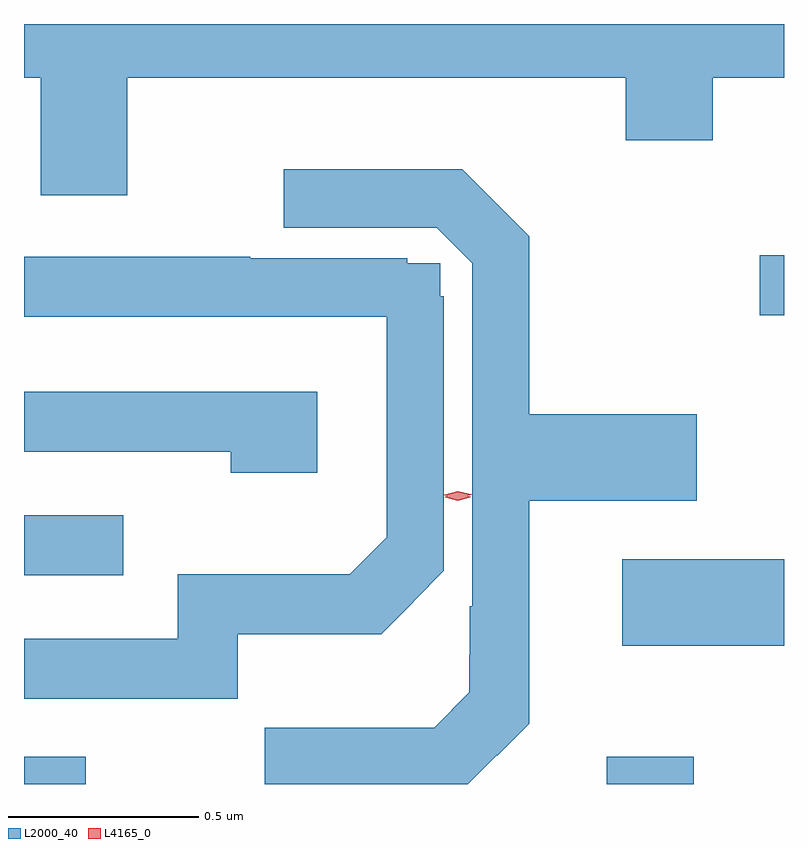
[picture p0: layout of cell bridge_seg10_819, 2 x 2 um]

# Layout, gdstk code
import gdstk
lib = gdstk.Library(unit=1e-6, precision=1e-09)
def R(c, l, rs):  # rectangles x0, y0, x1, y1
    for r in rs: c.add(gdstk.rectangle(r[:2], r[2:], *l))
def P(c, l, *ps):  # polygons
    for p in ps: c.add(gdstk.Polygon(p, *l))
L2000_40 = (2000, 40)
L4165_0 = (4165, 0)

bridge_seg10_819 = lib.new_cell('bridge_seg10_819')
R(bridge_seg10_819, L2000_40, [(594.957,2165.337,595.119,2165.409), (596.491,2165.337,596.719,2165.409), (596.531,2165.701,596.957,2165.929), (594.957,2165.886,595.218,2166.044), (596.893,2166.571,596.957,2166.729)])
P(bridge_seg10_819, L2000_40, [(595.229,2167.196),(596.541,2167.196),(596.541,2167.031),(596.769,2167.031),(596.769,2167.196),(596.957,2167.196),(596.957,2167.337),(594.957,2167.337),(594.957,2167.196),(595.001,2167.196),(595.001,2166.886),(595.229,2166.886)],
  [(596.201,2165.413),(596.203,2165.411),(596.287,2165.495),(596.287,2166.082),(596.727,2166.082),(596.727,2166.31),(596.287,2166.31),(596.287,2166.778),(596.11,2166.955),(595.641,2166.955),(595.641,2166.801),(596.043,2166.801),(596.137,2166.708),(596.137,2165.805),(596.13,2165.805),(596.13,2165.676),(596.129,2165.676),(596.129,2165.578),(596.037,2165.485),(595.591,2165.485),(595.591,2165.337),(596.125,2165.337)],
  [(595.519,2165.731),(595.897,2165.731),(595.983,2165.817),(595.982,2165.818),(596.062,2165.898),(596.062,2166.62),(596.053,2166.62),(596.053,2166.708),(595.965,2166.708),(595.965,2166.72),(595.553,2166.72),(595.553,2166.724),(594.957,2166.724),(594.957,2166.566),(595.911,2166.566),(595.911,2165.987),(595.814,2165.889),(595.361,2165.889),(595.361,2165.719),(594.957,2165.719),(594.957,2165.561),(595.519,2165.561)],
  [(595.729,2166.369),(594.957,2166.369),(594.957,2166.211),(595.501,2166.211),(595.501,2166.156),(595.729,2166.156)])
P(bridge_seg10_819, L4165_0, [(596.099,2166.088),(596.064,2166.097),(596.063,2166.098),(596.064,2166.098),(596.099,2166.108),(596.134,2166.099),(596.134,2166.098),(596.134,2166.098)],
  [(596.099,2166.083),(596.066,2166.092),(596.066,2166.093),(596.066,2166.093),(596.099,2166.103),(596.131,2166.093),(596.132,2166.093),(596.131,2166.092)])

lib.write_gds('bridge_seg10_819.gds')
